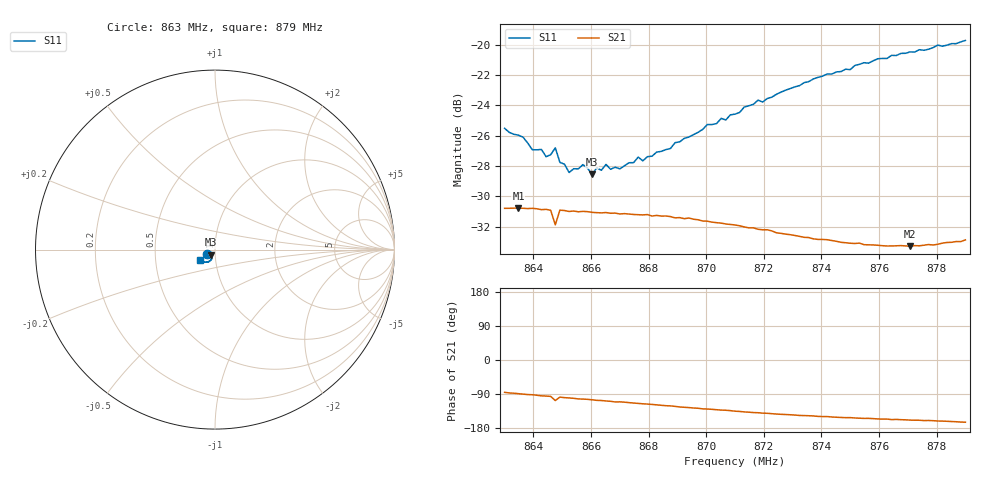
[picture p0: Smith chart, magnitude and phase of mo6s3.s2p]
# HZ S RI R 50
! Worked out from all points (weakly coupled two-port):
!   101 points, 863 MHz to 879 MHz, reference 50 ohm
!   highest |S21| = -30.77 dB at 863.48 MHz (marker M1); lowest = -33.3 dB at 877.08 MHz (marker M2)
!   lowest |S11| = -28.5 dB at 866.04 MHz (marker M3), VSWR 1.08, Z = 47.5 - j2.68 ohm
!   |S11| at or under -10 dB: start of sweep to end of sweep
!   S12 and S22 are empty: the file has one direction only
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8.63e8  -0.0471 -0.0243  0.00235 -0.0288  0 0  0 0
8.6348e8  -0.0438 -0.0248  0.000566 -0.0289  0 0  0 0
8.6396e8  -0.0378 -0.0246  -0.000865 -0.0289  0 0  0 0
8.646e8  -0.0354 -0.0252  -0.00298 -0.0283  0 0  0 0
8.6476e8  -0.0367 -0.0273  -0.00744 -0.0244  0 0  0 0
8.6492e8  -0.032 -0.0256  -0.00393 -0.0282  0 0  0 0
8.6524e8  -0.0287 -0.0248  -0.00498 -0.0278  0 0  0 0
8.6572e8  -0.0273 -0.0296  -0.00639 -0.0275  0 0  0 0
8.6604e8  -0.0246 -0.0282  -0.00728 -0.0271  0 0  0 0
8.6652e8  -0.0234 -0.0328  -0.0087 -0.0266  0 0  0 0
8.67e8  -0.022 -0.0322  -0.00967 -0.0259  0 0  0 0
8.6764e8  -0.0209 -0.0372  -0.0114 -0.0251  0 0  0 0
8.678e8  -0.0187 -0.037  -0.0119 -0.0248  0 0  0 0
8.6844e8  -0.0177 -0.0409  -0.0134 -0.0237  0 0  0 0
8.7004e8  -0.019 -0.0512  -0.0166 -0.0203  0 0  0 0
8.71e8  -0.0207 -0.0553  -0.018 -0.018  0 0  0 0
8.718e8  -0.0255 -0.0606  -0.0187 -0.0161  0 0  0 0
8.7196e8  -0.0256 -0.0595  -0.0189 -0.0157  0 0  0 0
8.7372e8  -0.0359 -0.0682  -0.0194 -0.0123  0 0  0 0
8.7644e8  -0.061 -0.0692  -0.02 -0.00837  0 0  0 0
8.7708e8  -0.0673 -0.0666  -0.0202 -0.00791  0 0  0 0
8.79e8  -0.0858 -0.0576  -0.0219 -0.0062  0 0  0 0
